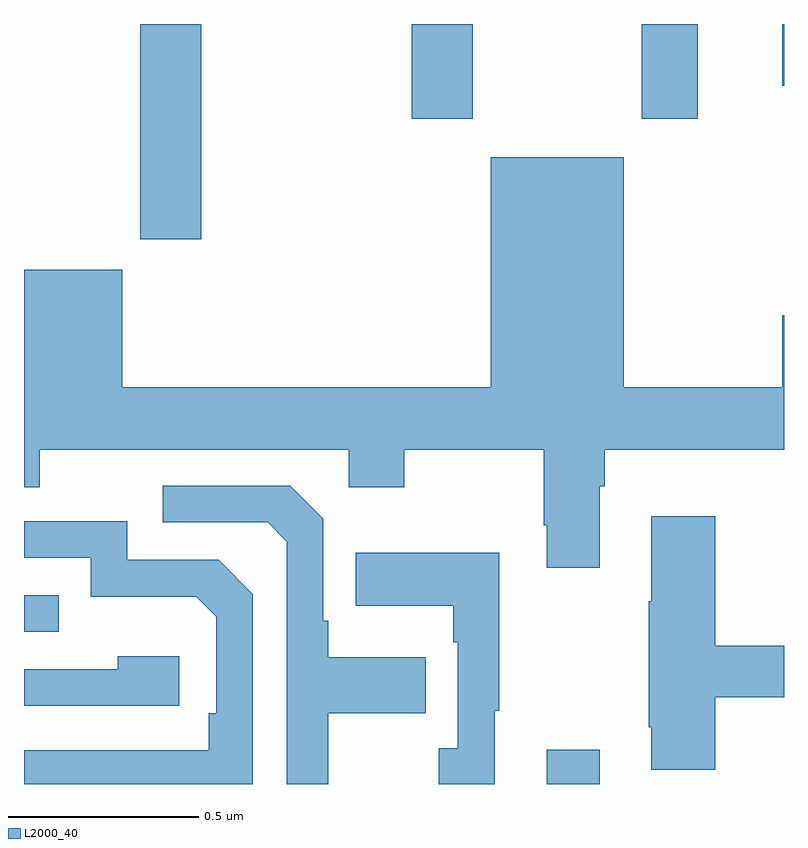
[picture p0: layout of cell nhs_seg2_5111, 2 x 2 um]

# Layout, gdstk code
import gdstk
lib = gdstk.Library(unit=1e-6, precision=1e-09)
def R(c, l, rs):  # rectangles x0, y0, x1, y1
    for r in rs: c.add(gdstk.rectangle(r[:2], r[2:], *l))
def P(c, l, *ps):  # polygons
    for p in ps: c.add(gdstk.Polygon(p, *l))
L2000_40 = (2000, 40)

nhs_seg2_5111 = lib.new_cell('nhs_seg2_5111')
R(nhs_seg2_5111, L2000_40, [(176.375,602.8,176.515,602.89), (175,603.201,175.091,603.297), (175.306,604.233,175.466,604.8), (176.021,604.551,176.181,604.8), (176.626,604.551,176.773,604.8), (176.996,604.638,177,604.8)])
P(nhs_seg2_5111, L2000_40, [(176.515,603.584),(176.528,603.584),(176.528,603.68),(177,603.68),(177,604.033),(176.996,604.033),(176.996,603.844),(176.578,603.844),(176.578,604.45),(176.228,604.45),(176.228,603.844),(175.258,603.844),(175.258,604.153),(175,604.153),(175,603.581),(175.041,603.581),(175.041,603.68),(175.854,603.68),(175.854,603.581),(176.001,603.581),(176.001,603.68),(176.368,603.68),(176.368,603.481),(176.375,603.481),(176.375,603.369),(176.515,603.369)],
  [(175.801,602.986),(176.057,602.986),(176.057,603.133),(175.801,603.133),(175.801,603.229),(175.788,603.229),(175.788,603.498),(175.701,603.585),(175.365,603.585),(175.365,603.489),(175.641,603.489),(175.692,603.438),(175.692,602.8),(175.801,602.8)],
  [(176.819,603.028),(177,603.028),(177,603.164),(176.819,603.164),(176.819,603.505),(176.651,603.505),(176.651,603.281),(176.644,603.281),(176.644,602.95),(176.651,602.95),(176.651,602.838),(176.819,602.838)],
  [(175.602,603.3),(175.512,603.39),(175.272,603.39),(175.272,603.492),(175,603.492),(175,603.396),(175.176,603.396),(175.176,603.293),(175.453,603.293),(175.506,603.24),(175.506,602.986),(175.486,602.986),(175.486,602.889),(175,602.889),(175,602.8),(175.602,602.8)],
  [(176.239,602.993),(176.251,602.993),(176.251,603.409),(175.873,603.409),(175.873,603.269),(176.13,603.269),(176.13,603.173),(176.142,603.173),(176.142,602.894),(176.091,602.894),(176.091,602.8),(176.239,602.8)],
  [(175.408,603.136),(175.247,603.136),(175.247,603.102),(175,603.102),(175,603.006),(175.408,603.006)])

lib.write_gds('nhs_seg2_5111.gds')
